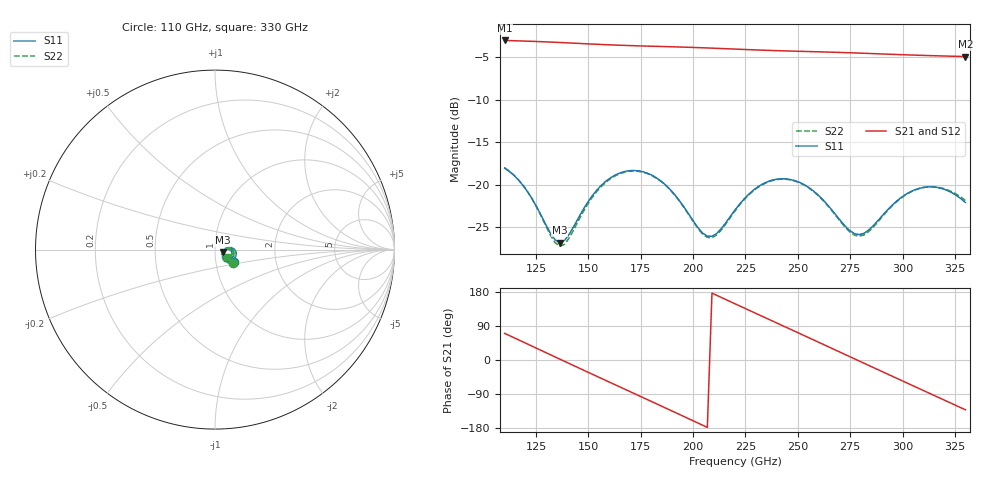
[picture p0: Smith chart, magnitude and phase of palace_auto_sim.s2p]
#  GHZ S DB R 50
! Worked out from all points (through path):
!   101 points, 110 GHz to 330 GHz, reference 50 ohm
!   highest |S21| = -3.06 dB at 110 GHz (marker M1); lowest = -5.0 dB at 330 GHz (marker M2)
!   group delay of S21, straight-line fit = 7.09 ps
!   lowest |S11| = -26.8 dB at 136.4 GHz (marker M3), VSWR 1.10, Z = 54.5 - j1.66 ohm
!   |S11| at or under -10 dB: start of sweep to end of sweep
!   |S22| runs from -27.2 to -18.0 dB; largest |S21 - S12| = 7.7e-14
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110  -18.04 -34.6  -3.06 70.4  -3.06 70.4  -18.02 -35.6
123.2  -21.69 -48.2  -3.17 36.3  -3.17 36.3  -21.70 -50.1
136.4  -26.78 -19.4  -3.30 2.2  -3.30 2.2  -27.21 -21.2
147.4  -22.96 8.9  -3.44 -26.1  -3.44 -26.1  -23.22 9.4
158.4  -19.58 2.0  -3.56 -54.2  -3.56 -54.2  -19.69 2.4
167.2  -18.45 -10.1  -3.64 -76.6  -3.64 -76.6  -18.52 -9.9
176  -18.47 -23.3  -3.71 -99.0  -3.71 -99.0  -18.52 -23.3
184.8  -19.60 -35.1  -3.77 -121.4  -3.77 -121.4  -19.64 -35.3
195.8  -22.67 -41.8  -3.85 -149.6  -3.85 -149.6  -22.72 -42.4
206.8  -26.04 -22.0  -3.95 -177.9  -3.95 -177.9  -26.18 -22.6
220  -22.96 4.6  -4.08 148.4  -4.08 148.4  -23.07 4.7
231  -20.23 -1.6  -4.19 120.4  -4.19 120.4  -20.30 -1.5
239.8  -19.35 -12.5  -4.26 98.0  -4.26 98.0  -19.40 -12.5
248.6  -19.52 -24.2  -4.32 75.7  -4.32 75.7  -19.56 -24.4
257.4  -20.72 -34.1  -4.38 53.3  -4.38 53.3  -20.77 -34.4
268.4  -23.62 -37.2  -4.46 25.2  -4.46 25.2  -23.71 -37.5
277.2  -25.76 -22.8  -4.53 2.7  -4.53 2.7  -25.93 -22.8
283.8  -25.32 -6.8  -4.59 -14.1  -4.59 -14.1  -25.50 -6.2
294.8  -22.46 1.0  -4.69 -42.1  -4.69 -42.1  -22.54 2.2
312.4  -20.25 -15.5  -4.84 -86.7  -4.84 -86.7  -20.25 -13.6
321.2  -20.66 -26.0  -4.90 -109.0  -4.90 -109.0  -20.58 -23.5
330  -22.08 -34.1  -4.96 -131.4  -4.96 -131.4  -21.85 -30.6
